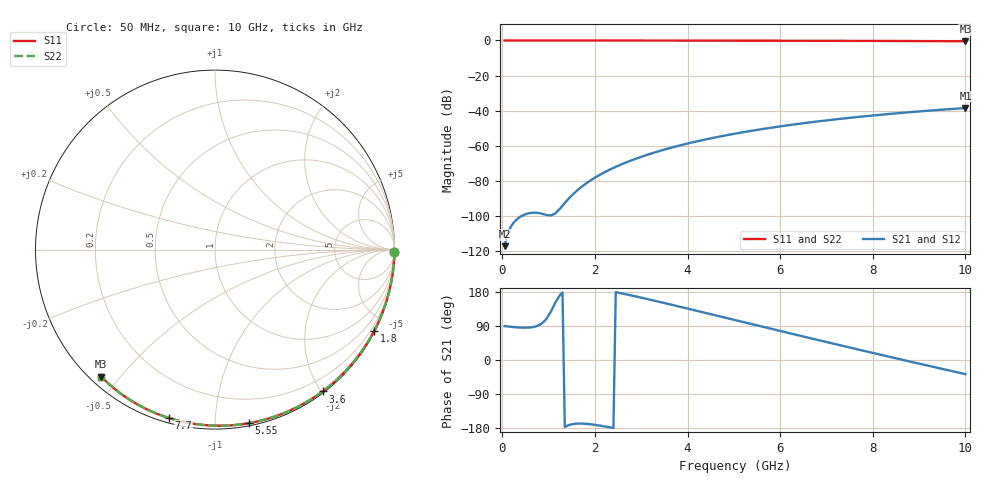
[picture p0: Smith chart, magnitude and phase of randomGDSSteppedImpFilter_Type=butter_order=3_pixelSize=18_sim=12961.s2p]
! freq	dB(S11)	phase(S11)	dB(S12)	phase(S12)
!  dB(S21)	phase(S21)	dB(S22)	phase(S22)
!S-par simulation data
#  GHz  S  DB  R 50
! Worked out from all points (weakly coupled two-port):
!   200 points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, 50 MHz to 10 GHz, reference 50 ohm
!   highest |S21| = -38.54 dB at 10 GHz (marker M1); lowest = -117.3 dB at 50 MHz (marker M2)
!   lowest |S11| = -0.4 dB at 10 GHz (marker M3), VSWR 39.12, Z = 1.53 - j22.3 ohm
!   |S11| at or under -10 dB: nowhere
!   |S22| runs from -0.4 to 0.0 dB; largest |S21 - S12| = 0
!   S11 on the Smith chart (normalised r, x): 50 MHz: open; 1.8 GHz: 0.04, -4.17; 3.6 GHz: 0.02, -2.01; 5.55 GHz: 0.02, -1.22; 7.7 GHz: 0.02, -0.76; 10 GHz: 0.03, -0.45
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0.05  -0.00 -0.8  -117.29 89.3  -117.29 89.3  -0.00 -0.8
0.45  -0.01 -6.8  -99.64 85.3  -99.64 85.3  -0.01 -6.8
0.9  -0.02 -13.6  -99.11 101.7  -99.11 101.7  -0.02 -13.6
1.75  -0.03 -26.3  -82.67 -167.9  -82.67 -167.9  -0.03 -26.3
1.8  -0.03 -27.0  -81.70 -168.3  -81.70 -168.3  -0.03 -27.0
1.9  -0.04 -28.5  -79.89 -169.5  -79.89 -169.5  -0.04 -28.5
2.05  -0.04 -30.7  -77.45 -172.0  -77.45 -172.0  -0.04 -30.7
2.25  -0.04 -33.6  -74.58 -176.1  -74.58 -176.1  -0.04 -33.6
2.45  -0.05 -36.5  -72.05 179.1  -72.05 179.1  -0.05 -36.5
2.65  -0.05 -39.4  -69.80 174.0  -69.80 174.0  -0.05 -39.4
3  -0.06 -44.4  -66.35 164.5  -66.35 164.5  -0.06 -44.4
3.4  -0.07 -50.0  -62.98 153.2  -62.98 153.2  -0.07 -50.0
3.6  -0.07 -52.8  -61.48 147.4  -61.48 147.4  -0.07 -52.8
4.3  -0.09 -62.4  -56.95 126.9  -56.95 126.9  -0.09 -62.4
5.05  -0.11 -72.4  -53.02 104.7  -53.02 104.7  -0.11 -72.4
5.55  -0.13 -78.9  -50.79 89.9  -50.79 89.9  -0.13 -78.9
6.1  -0.15 -85.8  -48.62 73.7  -48.62 73.7  -0.15 -85.8
6.7  -0.18 -93.3  -46.53 56.1  -46.53 56.1  -0.18 -93.3
7.7  -0.24 -105.3  -43.57 27.2  -43.57 27.2  -0.24 -105.3
8.35  -0.29 -113.0  -41.92 8.7  -41.92 8.7  -0.29 -112.9
9.15  -0.36 -122.2  -40.15 -13.8  -40.15 -13.8  -0.36 -122.2
10  -0.44 -131.9  -38.54 -37.4  -38.54 -37.4  -0.44 -131.8
